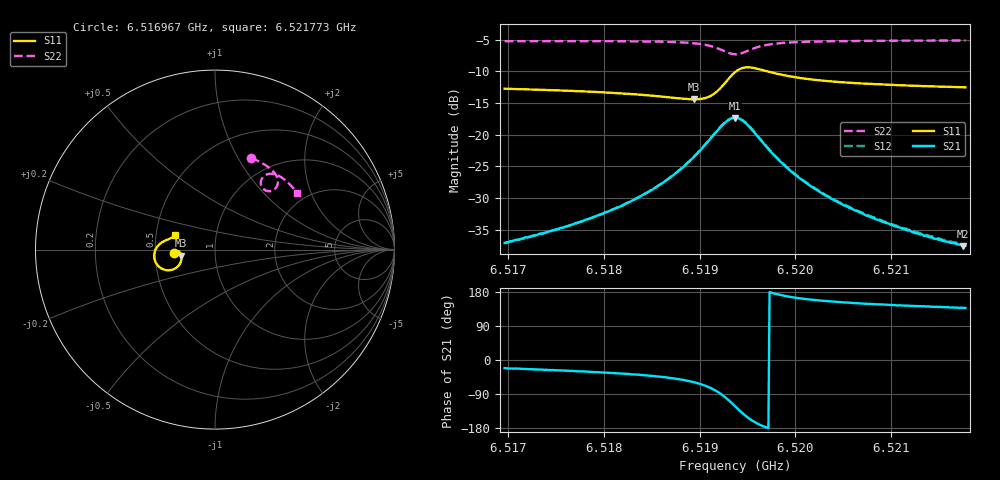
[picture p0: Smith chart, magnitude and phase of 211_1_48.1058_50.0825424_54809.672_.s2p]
#  HZ  S  RI  R  50.00
! Rohde & Schwarz Vector Network Analyzer
! Rohde-Schwarz,ZNB20-2Port,1311601062101988,3.16
! Created: UTC 12/23/2023, 3:55:45 AM
! freq[Hz]  re:S11  im:S11  re:S21  im:S21  re:S12  im:S12  re:S22  im:S22
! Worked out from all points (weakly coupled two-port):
!   401 points, 6.516967 GHz to 6.521773 GHz, reference 50 ohm
!   highest |S21| = -17.33 dB at 6.51937 GHz (marker M1); lowest = -37.6 dB at 6.521749 GHz (marker M2)
!   lowest |S11| = -14.4 dB at 6.518937 GHz (marker M3), VSWR 1.47, Z = 34.1 - j2.39 ohm
!   |S11| at or under -10 dB: start of sweep to 6.519379 GHz; 6.519714 GHz to end of sweep
!   |S22| runs from -7.3 to -5.1 dB; largest |S21 - S12| = 0.0043
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6.5169669e9  -0.2305 -0.0177  0.0131 -0.00507  0.0131 -0.00476  0.2008 0.5101
6.5174114e9  -0.2255 -0.0111  0.0154 -0.0075  0.0155 -0.00698  0.2337 0.4963
6.5177719e9  -0.2205 -0.00708  0.0179 -0.0104  0.0183 -0.00976  0.2604 0.4831
6.5181924e9  -0.2122 -0.00485  0.0225 -0.0162  0.0229 -0.0155  0.2919 0.4637
6.5185769e9  -0.2011 -0.00924  0.0288 -0.0276  0.0297 -0.0268  0.3215 0.4388
6.5187451e9  -0.1948 -0.0162  0.0323 -0.0372  0.0335 -0.0364  0.3346 0.4236
6.5189373e9  -0.1876 -0.0337  0.0348 -0.0566  0.0366 -0.0558  0.3477 0.3983
6.5190575e9  -0.1871 -0.0546  0.0316 -0.0768  0.0341 -0.0764  0.3508 0.3753
6.5191416e9  -0.194 -0.0758  0.0221 -0.0961  0.0252 -0.0961  0.3461 0.3551
6.5192738e9  -0.236 -0.1114  -0.0209 -0.1245  -0.0174 -0.1262  0.3139 0.3267
6.5193699e9  -0.2931 -0.1079  -0.0719 -0.1155  -0.069 -0.1185  0.2746 0.3339
6.519418e9  -0.3179 -0.0896  -0.0921 -0.0967  -0.0898 -0.1003  0.2607 0.3498
6.519478e9  -0.3355 -0.0586  -0.1041 -0.068  -0.1029 -0.0715  0.2552 0.3735
6.5195862e9  -0.3347 -0.00872  -0.098 -0.0254  -0.0981 -0.0285  0.2696 0.4061
6.5196823e9  -0.3203 0.018  -0.0828 -0.00483  -0.0835 -0.00729  0.29 0.4189
6.5199226e9  -0.2879 0.0451  -0.0528 0.0116  -0.0537 0.0102  0.3313 0.4202
6.5201749e9  -0.2677 0.0545  -0.036 0.0139  -0.0367 0.0129  0.3599 0.4086
6.5205354e9  -0.2511 0.0615  -0.0238 0.0129  -0.0245 0.0123  0.3897 0.3883
6.5209799e9  -0.2387 0.0679  -0.0163 0.0112  -0.0168 0.011  0.4183 0.362
6.5212323e9  -0.2333 0.0713  -0.0134 0.0103  -0.0141 0.0101  0.4325 0.3469
6.5217489e9  -0.2241 0.0784  -0.00975 0.00888  -0.0103 0.0088  0.4582 0.3147
6.5217729e9  -0.2237 0.0787  -0.00977 0.00899  -0.00999 0.00887  0.4595 0.3133
